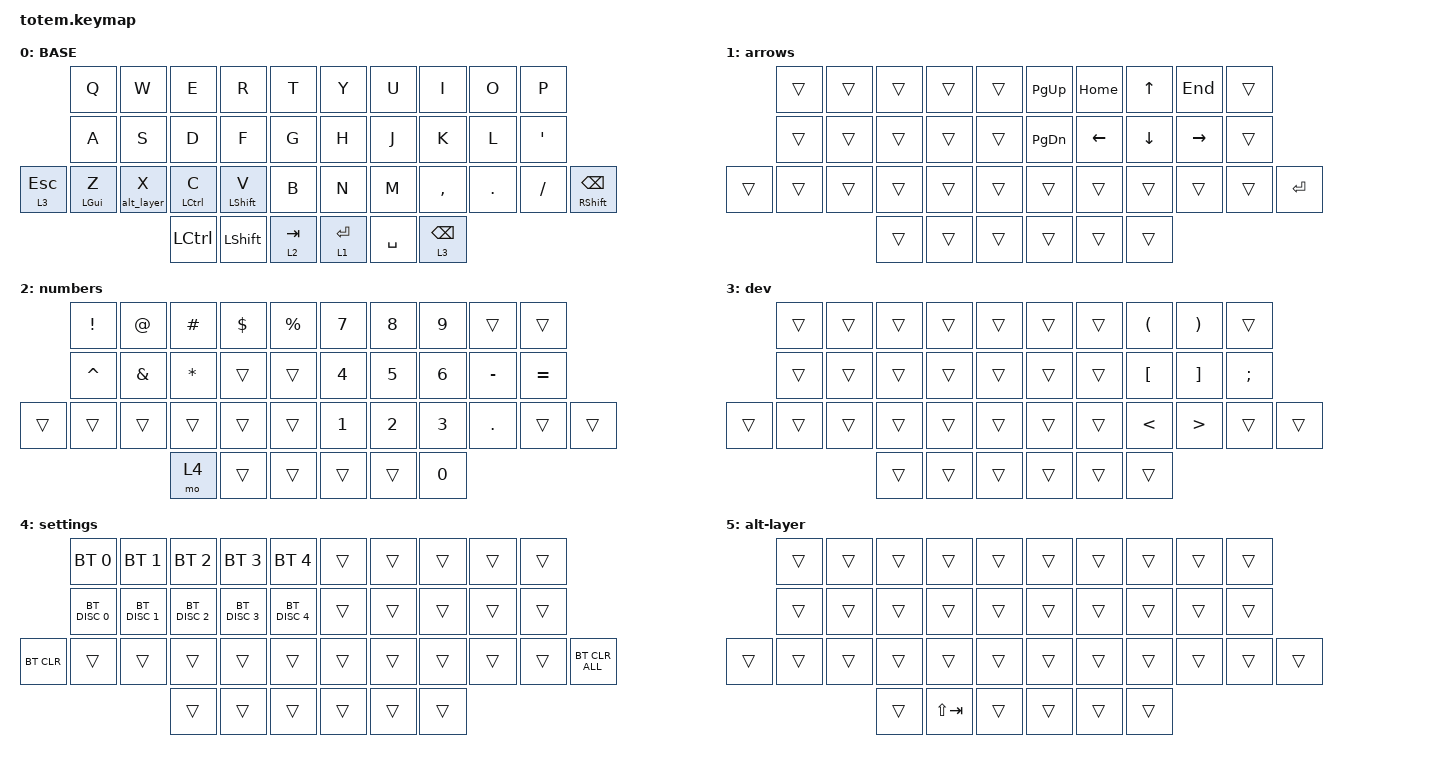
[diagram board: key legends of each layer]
//
//                                                        ▀▀▀▀▀     ▀▀▀▀▀          ▀▀█▀▀
//                                                        ▄▀▀▀▄  ▄  ▄▀▀▀▄  ▄  ▄▀▀▀▄  █  ▄▀▀▀▄
//                                                        █   █  █  █   █  █  █   █  █  █   █
//                                                         ▀▀▀   █   ▀▀▀   █   ▀▀▀   ▀   ▀▀▀
//                                                               █      ▄▄▄█▄▄▄    █   █  
//                                                               ▀      █  █  █     █▄█
//                                                             ▀▀▀▀▀    █  █  █      ▀
//                                                                      ▀  ▀  ▀
//
// ▄▄▄▄▄▄▄▄▄▄▄▄▄▄▄▄▄▄▄▄▄▄▄▄▄▄▄▄▄▄▄▄▄▄▄▄▄▄▄▄▄▄▄▄▄▄▄▄▄▄▄▄▄▄▄▄▄▄▄▄▄▄▄▄▄▄▄▄▄▄▄▄▄▄▄▄▄▄▄▄▄▄▄▄▄▄▄▄▄▄▄▄▄▄▄▄▄▄▄▄▄▄▄▄▄▄▄▄▄▄▄▄▄▄▄▄▄▄▄▄▄▄▄▄▄▄▄▄▄▄▄▄▄▄▄▄▄▄▄▄▄▄▄▄▄▄▄▄▄

#include <behaviors.dtsi>
#include <dt-bindings/zmk/bt.h>
#include <dt-bindings/zmk/keys.h>

#define BASE 0
#define NAV  1
#define SYM  2
#define ADJ  3
#define TVP1 4
#define TVP2 5

&mt {
    quick-tap-ms = <175>;
    global-quick-tap;
    flavor = "tap-preferred";
    tapping-term-ms = <280>;
    require-prior-idle-ms = <150>;
};

/ {
    combos {
        compatible = "zmk,combos";

        soft-off-combo {
            bindings = <&soft_off>;
            key-positions = <9 19 30>;
        };

        backspace {
            bindings = <&kp BACKSPACE>;
            key-positions = <17 18>;
        };

        backword {
            bindings = <&kp LC(BACKSPACE)>;
            key-positions = <16 17 18>;
        };
    };

    macros {
        alt_layer: fkey_layer_with_alt {
            compatible = "zmk,behavior-macro";
            #binding-cells = <0>;
            bindings =
                <&macro_press>,
                <&kp LEFT_ALT &mo 5>,
                <&macro_pause_for_release>,
                <&macro_release>,
                <&kp LEFT_ALT &mo 5>;

            label = "FKEY_LAYER_WITH_ALT";
        };
    };

    behaviors {
        hrm_left: hrm_left {
            compatible = "zmk,behavior-hold-tap";
            label = "HRM_LEFT";
            bindings = <&kp>, <&kp>;

            #binding-cells = <2>;
            tapping-term-ms = <280>;
            quick-tap-ms = <175>;
            require-prior-idle-ms = <150>;
            flavor = "balanced";
            hold-trigger-on-release;
            hold-trigger-key-positions = <5 6 7 8 9 15 16 17 18 19 26 27 28 29 30 31 35 36 37>;
        };

        hrm_right: hrm_right {
            compatible = "zmk,behavior-hold-tap";
            label = "HRM_RIGHT";
            bindings = <&kp>, <&kp>;

            #binding-cells = <2>;
            tapping-term-ms = <280>;
            quick-tap-ms = <175>;
            require-prior-idle-ms = <150>;
            flavor = "balanced";
            hold-trigger-on-release;
            hold-trigger-key-positions = <0 1 2 3 4 10 11 12 13 14 20 21 22 23 24 25 32 33 34>;
        };

        hrm_left_alt_layer: hrm_left_alt_layer {
            compatible = "zmk,behavior-hold-tap";
            label = "HRM_LEFT_ALT_LAYER";
            bindings = <&alt_layer>, <&kp>;

            #binding-cells = <2>;
            tapping-term-ms = <280>;
            quick-tap-ms = <175>;
            require-prior-idle-ms = <150>;
            flavor = "balanced";
            hold-trigger-on-release;
            hold-trigger-key-positions = <5 6 7 8 9 15 16 17 18 19 26 27 28 29 30 31 35 36 37>;
        };
    };

    keymap {
        compatible = "zmk,keymap";

        // ▄▄▄▄▄▄▄▄▄▄▄▄▄▄▄▄▄▄▄▄▄▄▄▄▄▄▄▄▄▄▄▄▄▄▄▄▄▄▄▄▄▄▄▄▄▄▄▄▄▄▄▄▄▄▄▄▄▄▄▄▄▄▄▄▄▄▄▄▄▄▄▄▄▄▄▄▄▄▄▄▄▄▄▄▄▄▄▄▄▄▄▄▄▄▄▄▄▄▄▄▄▄▄▄▄▄▄▄▄▄▄▄▄▄▄▄▄▄▄▄▄▄▄▄▄▄▄▄▄▄▄▄▄▄▄▄▄▄▄▄▄▄▄▄▄▄▄▄▄

        base_layer {
            // ┏━━━━━━━━━━━━━━━━━━━━━━━━━━━━━━━━━━━━━━━┓

            label = "BASE";

            // ┗━━━━━━━━━━━━━━━━━━━━━━━━━━━━━━━━━━━━━━━┛
            //             ┏━━━━━━━━━━━┳━━━━━━━━━━━┳━━━━━━━━━━━┳━━━━━━━━━━━┳━━━━━━━━━━━┓   ┏━━━━━━━━━━━┳━━━━━━━━━━━┳━━━━━━━━━━━┳━━━━━━━━━━━┳━━━━━━━━━━━┓
            //             ┃     Q     ┃     W     ┃     F     ┃     P     ┃     G     ┃   ┃     J     ┃     L     ┃     U     ┃     Y     ┃     ;     ┃
            //             ┣━━━━━━━━━━━╋━━━━━━━━━━━╋━━━━━━━━━━━╋━━━━━━━━━━━╋━━━━━━━━━━━┫   ┣━━━━━━━━━━━╋━━━━━━━━━━━╋━━━━━━━━━━━╋━━━━━━━━━━━╋━━━━━━━━━━━┫
            //             ┃     A     ┃     R     ┃     S     ┃     T     ┃     D     ┃   ┃     H     ┃     N     ┃     E     ┃     I     ┃     O     ┃
            // ┏━━━━━━━━━━━╋━━━━━━━━━━━╋━━━━━━━━━━━╋━━━━━━━━━━━╋━━━━━━━━━━━╋━━━━━━━━━━━┫   ┣━━━━━━━━━━━╋━━━━━━━━━━━╋━━━━━━━━━━━╋━━━━━━━━━━━╋━━━━━━━━━━━╋━━━━━━━━━━━┓
            // ┃     Q     ┃     Z     ┃     X     ┃     C     ┃     V     ┃     B     ┃   ┃     K     ┃     M     ┃     ,     ┃     .     ┃     /     ┃     \     ┃
            // ┗━━━━━━━━━━━┻━━━━━━━━━━━┻━━━━━━━━━━━╋━━━━━━━━━━━╋━━━━━━━━━━━╋━━━━━━━━━━━┫   ┣━━━━━━━━━━━╋━━━━━━━━━━━╋━━━━━━━━━━━╋━━━━━━━━━━━┻━━━━━━━━━━━┻━━━━━━━━━━━┛
            //                                     ┃    DEL    ┃    TAB    ┃    SPC    ┃   ┃   ENTER   ┃           ┃   BSPC    ┃
            //                                     ┗━━━━━━━━━━━┻━━━━━━━━━━━┻━━━━━━━━━━━┛   ┗━━━━━━━━━━━┻━━━━━━━━━━━┻━━━━━━━━━━━┛

            bindings = <
              &kp Q                 &kp W                    &kp E              &kp R               &kp T        &kp Y        &kp U      &kp I            &kp O    &kp P
              &kp A                 &kp S                    &kp D              &kp F               &kp G        &kp H        &kp J      &kp K            &kp L    &kp SQT
&lt 3 ESCAPE  &hrm_left LEFT_GUI Z  &hrm_left_alt_layer 0 X  &hrm_left LCTRL C  &hrm_left LSHIFT V  &kp B        &kp N        &kp M      &kp COMMA        &kp DOT  &kp FSLH  &mt RIGHT_SHIFT BACKSPACE
                                                             &kp LCTRL          &kp LEFT_SHIFT      &lt 2 TAB    &lt 1 ENTER  &kp SPACE  &lt 3 BACKSPACE
            >;
        };

        arrows {
            bindings = <
        &trans  &trans  &trans  &trans  &trans    &kp PAGE_UP    &kp HOME  &kp UP    &kp END    &trans
        &trans  &trans  &trans  &trans  &trans    &kp PAGE_DOWN  &kp LEFT  &kp DOWN  &kp RIGHT  &trans
&trans  &trans  &trans  &trans  &trans  &trans    &trans         &trans    &trans    &trans     &trans  &kp ENTER
                        &trans  &trans  &trans    &trans         &trans    &trans
            >;
        };

        numbers {
            bindings = <
        &kp EXCLAMATION  &kp AT_SIGN    &kp HASH      &kp DOLLAR  &kp PERCENT    &kp N7  &kp N8  &kp N9        &trans      &trans
        &kp CARET        &kp AMPERSAND  &kp ASTERISK  &trans      &trans         &kp N4  &kp N5  &kp N6        &kp MINUS   &kp EQUAL
&trans  &trans           &trans         &trans        &trans      &trans         &kp N1  &kp N2  &kp N3        &kp PERIOD  &trans     &trans
                                        &mo 4         &trans      &trans         &trans  &trans  &kp NUMBER_0
            >;
        };

        dev {
            bindings = <
        &trans  &trans  &trans  &trans  &trans    &trans  &trans  &kp LEFT_PARENTHESIS  &kp RIGHT_PARENTHESIS  &trans
        &trans  &trans  &trans  &trans  &trans    &trans  &trans  &kp LEFT_BRACKET      &kp RIGHT_BRACKET      &kp SEMICOLON
&trans  &trans  &trans  &trans  &trans  &trans    &trans  &trans  &kp LESS_THAN         &kp GREATER_THAN       &trans         &trans
                        &trans  &trans  &trans    &trans  &trans  &trans
            >;
        };

        settings {
            bindings = <
            &bt BT_SEL 0   &bt BT_SEL 1   &bt BT_SEL 2   &bt BT_SEL 3   &bt BT_SEL 4     &trans  &trans  &trans  &trans  &trans
            &bt BT_DISC 0  &bt BT_DISC 1  &bt BT_DISC 2  &bt BT_DISC 3  &bt BT_DISC 4    &trans  &trans  &trans  &trans  &trans
&bt BT_CLR  &trans         &trans         &trans         &trans         &trans           &trans  &trans  &trans  &trans  &trans  &bt BT_CLR_ALL
                                          &trans         &trans         &trans           &trans  &trans  &trans
            >;
        };

        alt-layer {
            bindings = <
        &trans  &trans  &trans  &trans       &trans    &trans  &trans  &trans  &trans  &trans
        &trans  &trans  &trans  &trans       &trans    &trans  &trans  &trans  &trans  &trans
&trans  &trans  &trans  &trans  &trans       &trans    &trans  &trans  &trans  &trans  &trans  &trans
                        &trans  &kp LS(TAB)  &trans    &trans  &trans  &trans
            >;
        };

        // ▄▄▄▄▄▄▄▄▄▄▄▄▄▄▄▄▄▄▄▄▄▄▄▄▄▄▄▄▄▄▄▄▄▄▄▄▄▄▄▄▄▄▄▄▄▄▄▄▄▄▄▄▄▄▄▄▄▄▄▄▄▄▄▄▄▄▄▄▄▄▄▄▄▄▄▄▄▄▄▄▄▄▄▄▄▄▄▄▄▄▄▄▄▄▄▄▄▄▄▄▄▄▄▄▄▄▄▄▄▄▄▄▄▄▄▄▄▄▄▄▄▄▄▄▄▄▄▄▄▄▄▄▄▄▄▄▄▄▄▄▄▄▄▄▄▄▄▄▄
        // ▄▄▄▄▄▄▄▄▄▄▄▄▄▄▄▄▄▄▄▄▄▄▄▄▄▄▄▄▄▄▄▄▄▄▄▄▄▄▄▄▄▄▄▄▄▄▄▄▄▄▄▄▄▄▄▄▄▄▄▄▄▄▄▄▄▄▄▄▄▄▄▄▄▄▄▄▄▄▄▄▄▄▄▄▄▄▄▄▄▄▄▄▄▄▄▄▄▄▄▄▄▄▄▄▄▄▄▄▄▄▄▄▄▄▄▄▄▄▄▄▄▄▄▄▄▄▄▄▄▄▄▄▄▄▄▄▄▄▄▄▄▄▄▄▄▄▄▄▄
        // ▄▄▄▄▄▄▄▄▄▄▄▄▄▄▄▄▄▄▄▄▄▄▄▄▄▄▄▄▄▄▄▄▄▄▄▄▄▄▄▄▄▄▄▄▄▄▄▄▄▄▄▄▄▄▄▄▄▄▄▄▄▄▄▄▄▄▄▄▄▄▄▄▄▄▄▄▄▄▄▄▄▄▄▄▄▄▄▄▄▄▄▄▄▄▄▄▄▄▄▄▄▄▄▄▄▄▄▄▄▄▄▄▄▄▄▄▄▄▄▄▄▄▄▄▄▄▄▄▄▄▄▄▄▄▄▄▄▄▄▄▄▄▄▄▄▄▄▄▄
        // ▄▄▄▄▄▄▄▄▄▄▄▄▄▄▄▄▄▄▄▄▄▄▄▄▄▄▄▄▄▄▄▄▄▄▄▄▄▄▄▄▄▄▄▄▄▄▄▄▄▄▄▄▄▄▄▄▄▄▄▄▄▄▄▄▄▄▄▄▄▄▄▄▄▄▄▄▄▄▄▄▄▄▄▄▄▄▄▄▄▄▄▄▄▄▄▄▄▄▄▄▄▄▄▄▄▄▄▄▄▄▄▄▄▄▄▄▄▄▄▄▄▄▄▄▄▄▄▄▄▄▄▄▄▄▄▄▄▄▄▄▄▄▄▄▄▄▄▄▄
        // ▄▄▄▄▄▄▄▄▄▄▄▄▄▄▄▄▄▄▄▄▄▄▄▄▄▄▄▄▄▄▄▄▄▄▄▄▄▄▄▄▄▄▄▄▄▄▄▄▄▄▄▄▄▄▄▄▄▄▄▄▄▄▄▄▄▄▄▄▄▄▄▄▄▄▄▄▄▄▄▄▄▄▄▄▄▄▄▄▄▄▄▄▄▄▄▄▄▄▄▄▄▄▄▄▄▄▄▄▄▄▄▄▄▄▄▄▄▄▄▄▄▄▄▄▄▄▄▄▄▄▄▄▄▄▄▄▄▄▄▄▄▄▄▄▄▄▄▄▄
    };
};
